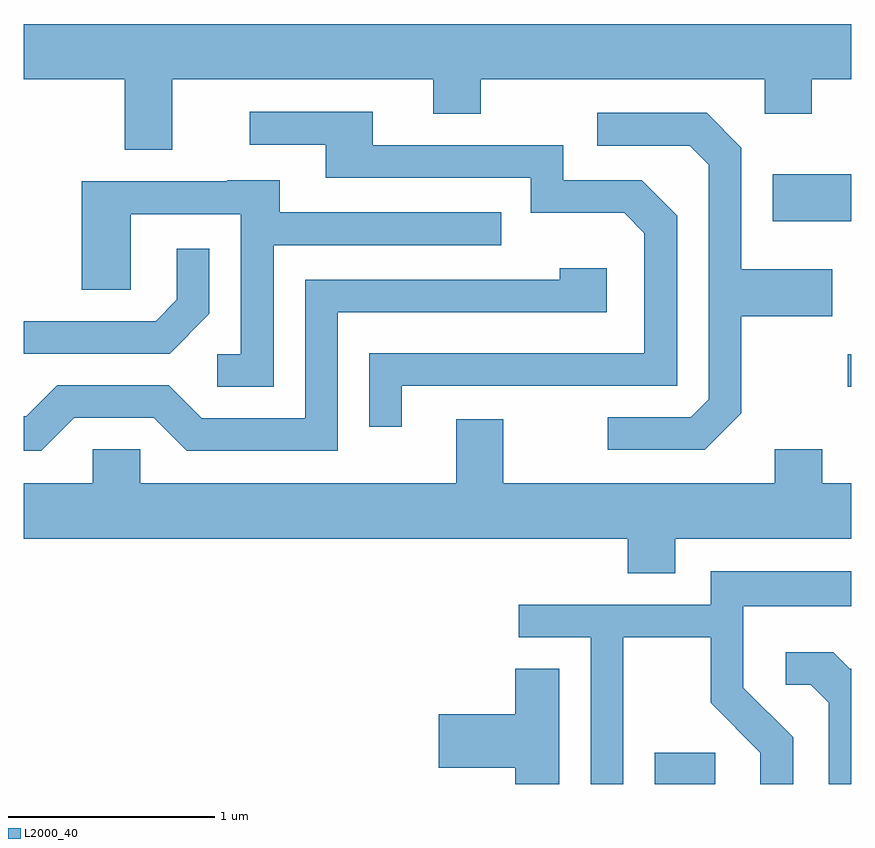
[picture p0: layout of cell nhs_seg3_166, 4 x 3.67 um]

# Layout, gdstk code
import gdstk
lib = gdstk.Library(unit=1e-6, precision=1e-09)
def R(c, l, rs):  # rectangles x0, y0, x1, y1
    for r in rs: c.add(gdstk.rectangle(r[:2], r[2:], *l))
def P(c, l, *ps):  # polygons
    for p in ps: c.add(gdstk.Polygon(p, *l))
L2000_40 = (2000, 40)

nhs_seg3_166 = lib.new_cell('nhs_seg3_166')
R(nhs_seg3_166, L2000_40, [(192.661,1175.892,192.954,1176.044), (193.593,1177.811,193.611,1177.969), (193.231,1178.611,193.611,1178.839)])
P(nhs_seg3_166, L2000_40, [(190.329,1179.296),(191.591,1179.296),(191.591,1179.131),(191.819,1179.131),(191.819,1179.296),(193.191,1179.296),(193.191,1179.131),(193.419,1179.131),(193.419,1179.296),(193.611,1179.296),(193.611,1179.564),(189.611,1179.564),(189.611,1179.296),(190.101,1179.296),(190.101,1178.956),(190.329,1178.956)],
  [(191.439,1177.816),(192.769,1177.816),(192.769,1178.637),(192.597,1178.809),(192.219,1178.809),(192.219,1178.979),(191.299,1178.979),(191.299,1179.139),(190.703,1179.139),(190.703,1178.981),(191.071,1178.981),(191.071,1178.821),(192.061,1178.821),(192.061,1178.651),(192.514,1178.651),(192.611,1178.554),(192.611,1177.974),(191.281,1177.974),(191.281,1177.618),(191.439,1177.618)],
  [(193.079,1177.684),(193.079,1178.151),(193.519,1178.151),(193.519,1178.379),(193.079,1178.379),(193.079,1178.967),(192.912,1179.134),(192.383,1179.134),(192.383,1178.976),(192.829,1178.976),(192.921,1178.884),(192.921,1177.752),(192.834,1177.664),(192.433,1177.664),(192.433,1177.506),(192.902,1177.506)],
  [(190.819,1178.496),(191.918,1178.496),(191.918,1178.654),(190.849,1178.654),(190.849,1178.809),(190.595,1178.809),(190.595,1178.804),(189.891,1178.804),(189.891,1178.281),(190.129,1178.281),(190.129,1178.646),(190.661,1178.646),(190.661,1177.969),(190.548,1177.969),(190.548,1177.811),(190.819,1177.811)],
  [(190.509,1178.164),(190.509,1178.478),(190.351,1178.478),(190.351,1178.232),(190.249,1178.129),(189.611,1178.129),(189.611,1177.971),(190.317,1177.971)],
  [(189.857,1177.661),(190.239,1177.661),(190.399,1177.501),(191.129,1177.501),(191.129,1178.171),(192.429,1178.171),(192.429,1178.384),(192.201,1178.384),(192.201,1178.329),(190.971,1178.329),(190.971,1177.659),(190.472,1177.659),(190.312,1177.819),(189.774,1177.819),(189.624,1177.669),(189.611,1177.669),(189.611,1177.501),(189.697,1177.501)],
  [(192.759,1177.076),(193.611,1177.076),(193.611,1177.344),(193.469,1177.344),(193.469,1177.509),(193.241,1177.509),(193.241,1177.344),(191.929,1177.344),(191.929,1177.654),(191.701,1177.654),(191.701,1177.344),(190.174,1177.344),(190.174,1177.509),(189.946,1177.509),(189.946,1177.344),(189.611,1177.344),(189.611,1177.076),(192.531,1177.076),(192.531,1176.911),(192.759,1176.911)],
  [(192.509,1176.601),(192.931,1176.601),(192.931,1176.284),(193.171,1176.044),(193.171,1175.892),(193.329,1175.892),(193.329,1176.117),(193.089,1176.357),(193.089,1176.751),(193.611,1176.751),(193.611,1176.919),(192.931,1176.919),(192.931,1176.759),(192.003,1176.759),(192.003,1176.601),(192.351,1176.601),(192.351,1175.892),(192.509,1175.892)],
  [(193.611,1176.449),(193.602,1176.449),(193.522,1176.529),(193.293,1176.529),(193.293,1176.371),(193.414,1176.371),(193.501,1176.284),(193.501,1175.892),(193.611,1175.892)],
  [(192.199,1176.449),(191.986,1176.449),(191.986,1176.229),(191.616,1176.229),(191.616,1175.971),(191.986,1175.971),(191.986,1175.892),(192.199,1175.892)])

lib.write_gds('nhs_seg3_166.gds')
